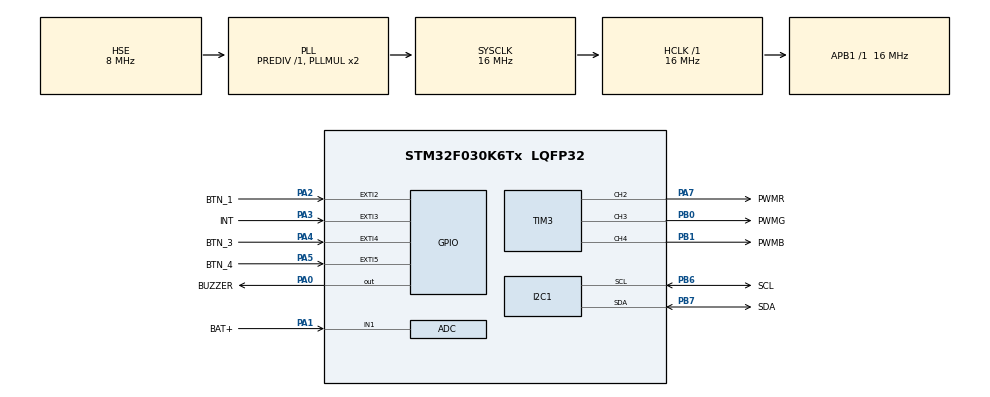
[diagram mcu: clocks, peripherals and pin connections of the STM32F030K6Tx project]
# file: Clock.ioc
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ADC.SamplingTime=ADC_SAMPLETIME_28CYCLES_5
Dma.ADC.0.Direction=DMA_PERIPH_TO_MEMORY
Dma.ADC.0.Instance=DMA1_Channel1
Dma.ADC.0.MemDataAlignment=DMA_MDATAALIGN_HALFWORD
Dma.ADC.0.MemInc=DMA_MINC_ENABLE
Dma.ADC.0.Mode=DMA_CIRCULAR
Dma.ADC.0.PeriphDataAlignment=DMA_PDATAALIGN_HALFWORD
Dma.ADC.0.PeriphInc=DMA_PINC_DISABLE
Dma.ADC.0.Priority=DMA_PRIORITY_LOW
Dma.Request0=ADC
Mcu.Family=STM32F0
Mcu.Name=STM32F030K6Tx
Mcu.Package=LQFP32
NVIC.DMA1_Channel1_IRQn=true\:0\:0\:false\:false\:true\:false\:true
NVIC.EXTI2_3_IRQn=true\:0\:0\:false\:false\:true\:true\:true
NVIC.EXTI4_15_IRQn=true\:0\:0\:false\:false\:true\:true\:true
PA0.GPIO_Label=BUZZER
PA0.Signal=GPIO_Output
PA1.GPIO_Label=BAT+
PA1.Mode=IN1
PA1.Signal=ADC_IN1
PA13.Mode=Serial_Wire
PA13.Signal=SYS_SWDIO
PA14.Mode=Serial_Wire
PA14.Signal=SYS_SWCLK
PA2.GPIO_Label=BTN_1
PA2.GPIO_ModeDefaultEXTI=GPIO_MODE_IT_FALLING
PA2.Signal=GPXTI2
PA3.GPIO_Label=INT
PA3.GPIO_ModeDefaultEXTI=GPIO_MODE_IT_FALLING
PA3.Signal=GPXTI3
PA4.GPIO_Label=BTN_3
PA4.GPIO_ModeDefaultEXTI=GPIO_MODE_IT_FALLING
PA4.Signal=GPXTI4
PA5.GPIO_Label=BTN_4
PA5.GPIO_ModeDefaultEXTI=GPIO_MODE_IT_FALLING
PA5.Signal=GPXTI5
PA7.GPIO_Label=PWMR
PA7.Signal=S_TIM3_CH2
PB0.GPIO_Label=PWMG
PB0.Signal=S_TIM3_CH3
PB1.GPIO_Label=PWMB
PB1.Signal=S_TIM3_CH4
PB6.GPIO_Label=SCL
PB6.Mode=I2C
PB6.Signal=I2C1_SCL
PB7.GPIO_Label=SDA
PB7.Mode=I2C
PB7.Signal=I2C1_SDA
PF0-OSC_IN.Mode=HSE-External-Oscillator
PF0-OSC_IN.Signal=RCC_OSC_IN
PF1-OSC_OUT.Mode=HSE-External-Oscillator
PF1-OSC_OUT.Signal=RCC_OSC_OUT
ProjectManager.HeapSize=0x200
ProjectManager.StackSize=0x400
ProjectManager.TargetToolchain=STM32CubeIDE
RCC.AHBFreq_Value=16000000
RCC.APB1Freq_Value=16000000
RCC.APB1TimFreq_Value=16000000
RCC.HCLKFreq_Value=16000000
RCC.PLLSourceVirtual=RCC_PLLSOURCE_HSE
RCC.SYSCLKFreq_VALUE=16000000
RCC.SYSCLKSource=RCC_SYSCLKSOURCE_PLLCLK
SH.S_TIM3_CH2.0=TIM3_CH2,PWM Generation2 CH2
SH.S_TIM3_CH3.0=TIM3_CH3,PWM Generation3 CH3
SH.S_TIM3_CH4.0=TIM3_CH4,PWM Generation4 CH4
TIM3.Channel-PWM\ Generation2\ CH2=TIM_CHANNEL_2
TIM3.Channel-PWM\ Generation3\ CH3=TIM_CHANNEL_3
TIM3.Channel-PWM\ Generation4\ CH4=TIM_CHANNEL_4
board=custom

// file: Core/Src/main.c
/* USER CODE BEGIN Header */
/**
  ******************************************************************************
  * @file           : main.c
  * @brief          : Main program body
  ******************************************************************************
  * @attention
  *
  * <h2><center>&copy; Copyright (c) 2021 STMicroelectronics.
  * All rights reserved.</center></h2>
  *
  * This software component is licensed by ST under BSD 3-Clause license,
  * the "License"; You may not use this file except in compliance with the
  * License. You may obtain a copy of the License at:
  *                        opensource.org/licenses/BSD-3-Clause
  *
  ******************************************************************************
  */
/* USER CODE END Header */
#include "main.h"
#include "ssd1306.h"
#include "fonts.h"
#include "stdio.h"
/* USER CODE BEGIN Includes */
uint32_t bat;
/* USER CODE END Includes */

ADC_HandleTypeDef hadc;
DMA_HandleTypeDef hdma_adc;

I2C_HandleTypeDef hi2c1;

TIM_HandleTypeDef htim3;

void SystemClock_Config(void);
static void MX_GPIO_Init(void);
static void MX_DMA_Init(void);
static void MX_ADC_Init(void);
static void MX_I2C1_Init(void);
static void MX_TIM3_Init(void);

/* USER CODE BEGIN 0 */

#define DS3231 0xD0

// Convert normal decimal numbers to binary coded decimal
uint8_t dectobcd(int val)
{
  return (uint8_t)( (val/10*16) + (val%10) );
}
// Convert binary coded decimal to normal decimal numbers
int bcdtodec(uint8_t val)
{
  return (int)( (val/16*10) + (val%16) );
}

typedef struct {
	uint8_t Minutes;
	uint8_t Hour;
	uint8_t Day;
	uint8_t Date;
	uint8_t Month;
	uint8_t Year;
}
TIME;
TIME time;

void Set_Time_function (uint8_t min, uint8_t hour, uint8_t day, uint8_t date, uint8_t month, uint8_t year)
{
	uint8_t set_time[6];
	set_time[0] = dectobcd(min);
	set_time[1] = dectobcd(hour);
	set_time[2] = dectobcd(day);
	set_time[3] = dectobcd(date);
	set_time[4] = dectobcd(month);
	set_time[5] = dectobcd(year);

	HAL_I2C_Mem_Write(&hi2c1, DS3231, 0x01, 1, set_time, 6, 1000);
}

void Get_Time_function (void)
{
	uint8_t get_time[6];
	HAL_I2C_Mem_Read(&hi2c1, DS3231, 0x01, 1, get_time, 6, 1000);
	time.Minutes = bcdtodec(get_time[0]);
	time.Hour = bcdtodec(get_time[1]);
	time.Day = bcdtodec(get_time[2]);
	time.Date = bcdtodec(get_time[3]);
	time.Month = bcdtodec(get_time[4]);
	time.Year = bcdtodec(get_time[5]);
}

char string[20],*p;

/* USER CODE END 0 */

int main(void)
{

  /* MCU Configuration--------------------------------------------------------*/

  /* Reset of all peripherals, Initializes the Flash interface and the Systick. */
  HAL_Init();

  /* Configure the system clock */
  SystemClock_Config();

  /* Initialize all configured peripherals */
  MX_GPIO_Init();
  MX_DMA_Init();
  MX_ADC_Init();
  MX_I2C1_Init();
  MX_TIM3_Init();
  SSD1306_Init();
  /* USER CODE BEGIN 2 */
  HAL_ADC_Start_DMA(&hadc,&bat,1);
  Set_Time_function(00,10,4,17,2,21);

  /* USER CODE END 2 */

  /* Infinite loop */
  while (1)
  {
	  float v=(bat/4096)*4.2;
	  Get_Time_function();
	  sprintf(string,"%02d:%02d", time.Hour, time.Minutes);
	  puts(string);
	  SSD1306_GotoXY(0,2);
	  SSD1306_Puts(string,  &Font_7x10,1);

	  sprintf(string,"%02d-%02d-%02d", time.Date, time.Month,time.Year);
	  puts(string);
	  SSD1306_GotoXY(0,20);
	  SSD1306_Puts(string, &Font_7x10,1);

	  sprintf(string,"V=%5.2f",v);
	  puts(string);
	  SSD1306_GotoXY(100,2);
	  SSD1306_Puts(string, &Font_7x10,1);
	  HAL_Delay(500);
  }
}

void SystemClock_Config(void)
{
  RCC_OscInitTypeDef RCC_OscInitStruct = {0};
  RCC_ClkInitTypeDef RCC_ClkInitStruct = {0};
  RCC_PeriphCLKInitTypeDef PeriphClkInit = {0};

  /** Initializes the RCC Oscillators according to the specified parameters
  * in the RCC_OscInitTypeDef structure.
  */
  RCC_OscInitStruct.OscillatorType = RCC_OSCILLATORTYPE_HSI|RCC_OSCILLATORTYPE_HSI14
                              |RCC_OSCILLATORTYPE_HSE;
  RCC_OscInitStruct.HSEState = RCC_HSE_ON;
  RCC_OscInitStruct.HSIState = RCC_HSI_ON;
  RCC_OscInitStruct.HSI14State = RCC_HSI14_ON;
  RCC_OscInitStruct.HSICalibrationValue = RCC_HSICALIBRATION_DEFAULT;
  RCC_OscInitStruct.HSI14CalibrationValue = 16;
  RCC_OscInitStruct.PLL.PLLState = RCC_PLL_ON;
  RCC_OscInitStruct.PLL.PLLSource = RCC_PLLSOURCE_HSE;
  RCC_OscInitStruct.PLL.PLLMUL = RCC_PLL_MUL2;
  RCC_OscInitStruct.PLL.PREDIV = RCC_PREDIV_DIV1;
  if (HAL_RCC_OscConfig(&RCC_OscInitStruct) != HAL_OK)
  {
    Error_Handler();
  }
  /** Initializes the CPU, AHB and APB buses clocks
  */
  RCC_ClkInitStruct.ClockType = RCC_CLOCKTYPE_HCLK|RCC_CLOCKTYPE_SYSCLK
                              |RCC_CLOCKTYPE_PCLK1;
  RCC_ClkInitStruct.SYSCLKSource = RCC_SYSCLKSOURCE_PLLCLK;
  RCC_ClkInitStruct.AHBCLKDivider = RCC_SYSCLK_DIV1;
  RCC_ClkInitStruct.APB1CLKDivider = RCC_HCLK_DIV1;

  if (HAL_RCC_ClockConfig(&RCC_ClkInitStruct, FLASH_LATENCY_0) != HAL_OK)
  {
    Error_Handler();
  }
  PeriphClkInit.PeriphClockSelection = RCC_PERIPHCLK_I2C1;
  PeriphClkInit.I2c1ClockSelection = RCC_I2C1CLKSOURCE_HSI;
  if (HAL_RCCEx_PeriphCLKConfig(&PeriphClkInit) != HAL_OK)
  {
    Error_Handler();
  }
}

static void MX_ADC_Init(void)
{

  ADC_ChannelConfTypeDef sConfig = {0};

  /** Configure the global features of the ADC (Clock, Resolution, Data Alignment and number of conversion)
  */
  hadc.Instance = ADC1;
  hadc.Init.ClockPrescaler = ADC_CLOCK_ASYNC_DIV1;
  hadc.Init.Resolution = ADC_RESOLUTION_12B;
  hadc.Init.DataAlign = ADC_DATAALIGN_RIGHT;
  hadc.Init.ScanConvMode = ADC_SCAN_DIRECTION_FORWARD;
  hadc.Init.EOCSelection = ADC_EOC_SINGLE_CONV;
  hadc.Init.LowPowerAutoWait = DISABLE;
  hadc.Init.LowPowerAutoPowerOff = DISABLE;
  hadc.Init.ContinuousConvMode = DISABLE;
  hadc.Init.DiscontinuousConvMode = DISABLE;
  hadc.Init.ExternalTrigConv = ADC_SOFTWARE_START;
  hadc.Init.ExternalTrigConvEdge = ADC_EXTERNALTRIGCONVEDGE_NONE;
  hadc.Init.DMAContinuousRequests = DISABLE;
  hadc.Init.Overrun = ADC_OVR_DATA_PRESERVED;
  if (HAL_ADC_Init(&hadc) != HAL_OK)
  {
    Error_Handler();
  }
  /** Configure for the selected ADC regular channel to be converted.
  */
  sConfig.Channel = ADC_CHANNEL_1;
  sConfig.Rank = ADC_RANK_CHANNEL_NUMBER;
  sConfig.SamplingTime = ADC_SAMPLETIME_28CYCLES_5;
  if (HAL_ADC_ConfigChannel(&hadc, &sConfig) != HAL_OK)
  {
    Error_Handler();
  }

}

static void MX_I2C1_Init(void)
{

  hi2c1.Instance = I2C1;
  hi2c1.Init.Timing = 0x2000090E;
  hi2c1.Init.OwnAddress1 = 0;
  hi2c1.Init.AddressingMode = I2C_ADDRESSINGMODE_7BIT;
  hi2c1.Init.DualAddressMode = I2C_DUALADDRESS_DISABLE;
  hi2c1.Init.OwnAddress2 = 0;
  hi2c1.Init.OwnAddress2Masks = I2C_OA2_NOMASK;
  hi2c1.Init.GeneralCallMode = I2C_GENERALCALL_DISABLE;
  hi2c1.Init.NoStretchMode = I2C_NOSTRETCH_DISABLE;
  if (HAL_I2C_Init(&hi2c1) != HAL_OK)
  {
    Error_Handler();
  }
  /** Configure Analogue filter
  */
  if (HAL_I2CEx_ConfigAnalogFilter(&hi2c1, I2C_ANALOGFILTER_ENABLE) != HAL_OK)
  {
    Error_Handler();
  }
  /** Configure Digital filter
  */
  if (HAL_I2CEx_ConfigDigitalFilter(&hi2c1, 0) != HAL_OK)
  {
    Error_Handler();
  }

}

static void MX_TIM3_Init(void)
{

  TIM_MasterConfigTypeDef sMasterConfig = {0};
  TIM_OC_InitTypeDef sConfigOC = {0};

  htim3.Instance = TIM3;
  htim3.Init.Prescaler = 0;
  htim3.Init.CounterMode = TIM_COUNTERMODE_UP;
  htim3.Init.Period = 65535;
  htim3.Init.ClockDivision = TIM_CLOCKDIVISION_DIV1;
  htim3.Init.AutoReloadPreload = TIM_AUTORELOAD_PRELOAD_DISABLE;
  if (HAL_TIM_PWM_Init(&htim3) != HAL_OK)
  {
    Error_Handler();
  }
  sMasterConfig.MasterOutputTrigger = TIM_TRGO_RESET;
  sMasterConfig.MasterSlaveMode = TIM_MASTERSLAVEMODE_DISABLE;
  if (HAL_TIMEx_MasterConfigSynchronization(&htim3, &sMasterConfig) != HAL_OK)
  {
    Error_Handler();
  }
  sConfigOC.OCMode = TIM_OCMODE_PWM1;
  sConfigOC.Pulse = 0;
  sConfigOC.OCPolarity = TIM_OCPOLARITY_HIGH;
  sConfigOC.OCFastMode = TIM_OCFAST_DISABLE;
  if (HAL_TIM_PWM_ConfigChannel(&htim3, &sConfigOC, TIM_CHANNEL_2) != HAL_OK)
  {
    Error_Handler();
  }
  if (HAL_TIM_PWM_ConfigChannel(&htim3, &sConfigOC, TIM_CHANNEL_3) != HAL_OK)
  {
    Error_Handler();
  }
  if (HAL_TIM_PWM_ConfigChannel(&htim3, &sConfigOC, TIM_CHANNEL_4) != HAL_OK)
  {
    Error_Handler();
  }
  HAL_TIM_MspPostInit(&htim3);

}

static void MX_DMA_Init(void)
{

  /* DMA controller clock enable */
  __HAL_RCC_DMA1_CLK_ENABLE();

  /* DMA interrupt init */
  /* DMA1_Channel1_IRQn interrupt configuration */
  HAL_NVIC_SetPriority(DMA1_Channel1_IRQn, 0, 0);
  HAL_NVIC_EnableIRQ(DMA1_Channel1_IRQn);

}

static void MX_GPIO_Init(void)
{
  GPIO_InitTypeDef GPIO_InitStruct = {0};

  /* GPIO Ports Clock Enable */
  __HAL_RCC_GPIOF_CLK_ENABLE();
  __HAL_RCC_GPIOA_CLK_ENABLE();
  __HAL_RCC_GPIOB_CLK_ENABLE();

  /*Configure GPIO pin Output Level */
  HAL_GPIO_WritePin(BUZZER_GPIO_Port, BUZZER_Pin, GPIO_PIN_RESET);

  /*Configure GPIO pin : BUZZER_Pin */
  GPIO_InitStruct.Pin = BUZZER_Pin;
  GPIO_InitStruct.Mode = GPIO_MODE_OUTPUT_PP;
  GPIO_InitStruct.Pull = GPIO_NOPULL;
  GPIO_InitStruct.Speed = GPIO_SPEED_FREQ_LOW;
  HAL_GPIO_Init(BUZZER_GPIO_Port, &GPIO_InitStruct);

  /*Configure GPIO pins : BTN_1_Pin INT_Pin BTN_3_Pin BTN_4_Pin */
  GPIO_InitStruct.Pin = BTN_1_Pin|INT_Pin|BTN_3_Pin|BTN_4_Pin;
  GPIO_InitStruct.Mode = GPIO_MODE_IT_FALLING;
  GPIO_InitStruct.Pull = GPIO_NOPULL;
  HAL_GPIO_Init(GPIOA, &GPIO_InitStruct);

  /* EXTI interrupt init*/
  HAL_NVIC_SetPriority(EXTI2_3_IRQn, 0, 0);
  HAL_NVIC_EnableIRQ(EXTI2_3_IRQn);

  HAL_NVIC_SetPriority(EXTI4_15_IRQn, 0, 0);
  HAL_NVIC_EnableIRQ(EXTI4_15_IRQn);

}

void Error_Handler(void)
{
  __disable_irq();
  while (1)
  {
  }
}

/************************ (C) COPYRIGHT STMicroelectronics *****END OF FILE****/
